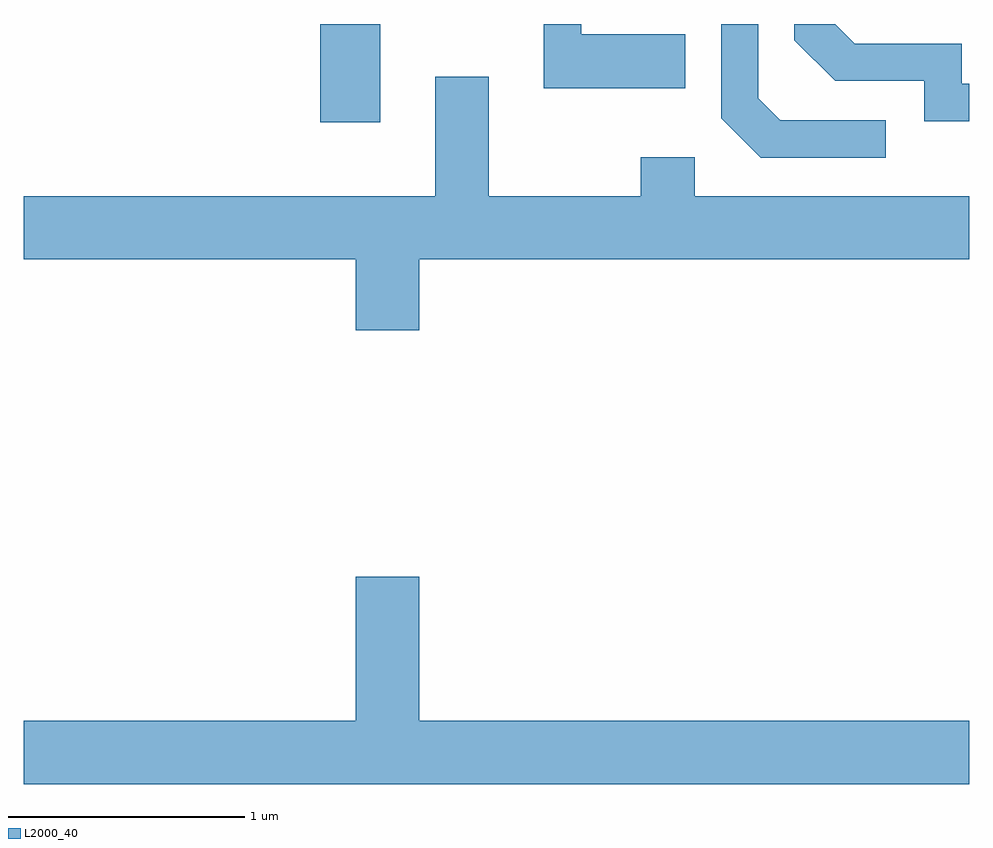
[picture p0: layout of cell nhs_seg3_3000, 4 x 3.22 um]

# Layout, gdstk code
import gdstk
lib = gdstk.Library(unit=1e-6, precision=1e-09)
def R(c, l, rs):  # rectangles x0, y0, x1, y1
    for r in rs: c.add(gdstk.rectangle(r[:2], r[2:], *l))
def P(c, l, *ps):  # polygons
    for p in ps: c.add(gdstk.Polygon(p, *l))
L2000_40 = (2000, 40)

nhs_seg3_3000 = lib.new_cell('nhs_seg3_3000')
R(nhs_seg3_3000, L2000_40, [(274.866,1135.476,275.119,1135.892)])
P(nhs_seg3_3000, L2000_40, [(277.258,1135.484),(276.812,1135.484),(276.719,1135.577),(276.719,1135.892),(276.561,1135.892),(276.561,1135.494),(276.729,1135.326),(277.258,1135.326)],
  [(277.611,1135.639),(277.579,1135.639),(277.579,1135.809),(277.127,1135.809),(277.044,1135.892),(276.871,1135.892),(276.871,1135.824),(277.044,1135.651),(277.421,1135.651),(277.421,1135.481),(277.611,1135.481)],
  [(276.409,1135.849),(275.969,1135.849),(275.969,1135.892),(275.811,1135.892),(275.811,1135.621),(276.409,1135.621)],
  [(275.284,1134.896),(277.611,1134.896),(277.611,1135.164),(276.449,1135.164),(276.449,1135.329),(276.221,1135.329),(276.221,1135.164),(275.579,1135.164),(275.579,1135.669),(275.351,1135.669),(275.351,1135.164),(273.611,1135.164),(273.611,1134.896),(275.016,1134.896),(275.016,1134.596),(275.284,1134.596)],
  [(277.611,1132.944),(275.284,1132.944),(275.284,1133.554),(275.016,1133.554),(275.016,1132.944),(273.611,1132.944),(273.611,1132.676),(277.611,1132.676)])

lib.write_gds('nhs_seg3_3000.gds')
